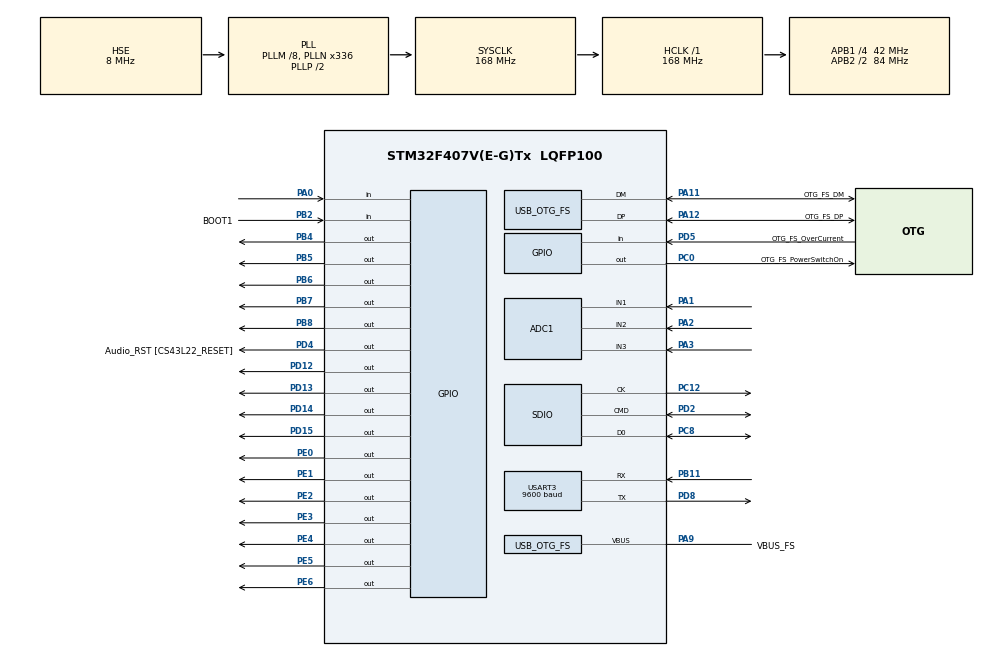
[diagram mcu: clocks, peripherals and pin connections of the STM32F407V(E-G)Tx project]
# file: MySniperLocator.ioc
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ADC1.Channel-0\#ChannelRegularConversion=ADC_CHANNEL_1
ADC1.Channel-1\#ChannelRegularConversion=ADC_CHANNEL_2
ADC1.Channel-2\#ChannelRegularConversion=ADC_CHANNEL_3
ADC1.ClockPrescaler=ADC_CLOCKPRESCALER_PCLK_DIV8
ADC1.ContinuousConvMode=ENABLE
ADC1.DMAContinuousRequests=ENABLE
ADC1.NbrOfConversion=3
ADC1.Rank-1\#ChannelRegularConversion=2
ADC1.Rank-2\#ChannelRegularConversion=3
ADC1.SamplingTime-0\#ChannelRegularConversion=ADC_SAMPLETIME_56CYCLES
ADC1.SamplingTime-1\#ChannelRegularConversion=ADC_SAMPLETIME_56CYCLES
ADC1.SamplingTime-2\#ChannelRegularConversion=ADC_SAMPLETIME_56CYCLES
ADC1.ScanConvMode=ENABLE
ADC1.master=1
Dma.ADC1.0.Channel=DMA_CHANNEL_0
Dma.ADC1.0.Direction=DMA_PERIPH_TO_MEMORY
Dma.ADC1.0.FIFOMode=DMA_FIFOMODE_DISABLE
Dma.ADC1.0.Instance=DMA2_Stream0
Dma.ADC1.0.MemDataAlignment=DMA_MDATAALIGN_HALFWORD
Dma.ADC1.0.MemInc=DMA_MINC_ENABLE
Dma.ADC1.0.Mode=DMA_CIRCULAR
Dma.ADC1.0.PeriphDataAlignment=DMA_PDATAALIGN_HALFWORD
Dma.ADC1.0.PeriphInc=DMA_PINC_DISABLE
Dma.ADC1.0.Priority=DMA_PRIORITY_HIGH
Dma.Request0=ADC1
FATFS._FS_TIMEOUT=1000
FATFS._MAX_SS=512
FATFS._MIN_SS=512
FATFS._MULTI_PARTITION=0
FATFS._USE_ERASE=0
FATFS._USE_LABEL=1
FATFS._USE_STRFUNC=2
FATFS._VOLUMES=1
Mcu.Family=STM32F4
Mcu.Name=STM32F407V(E-G)Tx
Mcu.Package=LQFP100
NVIC.DMA2_Stream0_IRQn=true\:2\:0\:true
NVIC.PriorityGroup=NVIC_PRIORITYGROUP_4
NVIC.USART3_IRQn=true\:1\:0\:true
PA0-WKUP.GPIO_Mode=GPIO_MODE_INPUT
PA0-WKUP.GPIO_PuPd=GPIO_PULLDOWN
PA0-WKUP.Signal=GPIO_Input
PA1.Signal=ADCx_IN1
PA10.GPIO_Label=OTG_FS_ID
PA10.GPIO_Mode=GPIO_MODE_AF_PP
PA10.GPIO_PuPd=GPIO_NOPULL
PA10.GPIO_Speed=GPIO_SPEED_LOW
PA10.Signal=USB_OTG_FS_ID
PA11.GPIO_Label=OTG_FS_DM
PA11.GPIO_Mode=GPIO_MODE_AF_PP
PA11.GPIO_PuPd=GPIO_NOPULL
PA11.GPIO_Speed=GPIO_SPEED_LOW
PA11.Mode=Device_Only
PA11.Signal=USB_OTG_FS_DM
PA12.GPIO_Label=OTG_FS_DP
PA12.GPIO_Mode=GPIO_MODE_AF_PP
PA12.GPIO_PuPd=GPIO_NOPULL
PA12.GPIO_Speed=GPIO_SPEED_LOW
PA12.Mode=Device_Only
PA12.Signal=USB_OTG_FS_DP
PA13.GPIO_Label=SWDIO
PA13.Mode=Trace-Asynchronous_SW
PA13.Signal=SYS_JTMS-SWDIO
PA14.GPIO_Label=SWCLK
PA14.Mode=Trace-Asynchronous_SW
PA14.Signal=SYS_JTCK-SWCLK
PA2.Signal=ADCx_IN2
PA3.Signal=ADCx_IN3
PA4.GPIO_Label=I2S3_WS [CS43L22_LRCK]
PA4.GPIO_Mode=GPIO_MODE_AF_PP
PA4.GPIO_PuPd=GPIO_NOPULL
PA4.GPIO_Speed=GPIO_SPEED_LOW
PA4.Signal=I2S3_WS
PA5.GPIO_Label=SPI1_SCK [LIS302DL_SCL/SPC]
PA5.GPIO_Mode=GPIO_MODE_AF_PP
PA5.GPIO_PuPd=GPIO_NOPULL
PA5.GPIO_Speed=GPIO_SPEED_LOW
PA5.Signal=SPI1_SCK
PA6.GPIO_Label=SPI1_MISO [LIS302DL_SDO]
PA6.GPIO_Mode=GPIO_MODE_AF_PP
PA6.GPIO_PuPd=GPIO_NOPULL
PA6.GPIO_Speed=GPIO_SPEED_LOW
PA6.Signal=SPI1_MISO
PA7.GPIO_Label=SPI1_MOSI [LIS302DL_SDA/SDI/SDO]
PA7.GPIO_Mode=GPIO_MODE_AF_PP
PA7.GPIO_PuPd=GPIO_NOPULL
PA7.GPIO_Speed=GPIO_SPEED_LOW
PA7.Signal=SPI1_MOSI
PA9.GPIO_Label=VBUS_FS
PA9.GPIO_Mode=GPIO_MODE_INPUT
PA9.GPIO_PuPd=GPIO_NOPULL
PA9.Mode=Activate_VBUS
PA9.Signal=USB_OTG_FS_VBUS
PB10.GPIO_Label=CLK_IN [MP45DT02_CLK]
PB10.GPIO_Mode=GPIO_MODE_AF_PP
PB10.GPIO_PuPd=GPIO_NOPULL
PB10.GPIO_Speed=GPIO_SPEED_LOW
PB10.Signal=I2S2_CK
PB11.Mode=Asynchronous
PB11.Signal=USART3_RX
PB2.GPIO_Label=BOOT1
PB2.GPIO_Mode=GPIO_MODE_INPUT
PB2.GPIO_PuPd=GPIO_NOPULL
PB2.Signal=GPIO_Input
PB3.GPIO_Label=SWO
PB3.Mode=Trace-Asynchronous_SW
PB3.Signal=SYS_JTDO-SWO
PB4.Signal=GPIO_Output
PB5.Signal=GPIO_Output
PB6.Signal=GPIO_Output
PB7.Signal=GPIO_Output
PB8.Signal=GPIO_Output
PC0.GPIO_Label=OTG_FS_PowerSwitchOn
PC0.GPIO_ModeDefaultOutputPP=GPIO_MODE_OUTPUT_PP
PC0.GPIO_PuPd=GPIO_NOPULL
PC0.GPIO_Speed=GPIO_SPEED_LOW
PC0.Signal=GPIO_Output
PC12.Mode=SD_1_bit
PC12.Signal=SDIO_CK
PC14-OSC32_IN.GPIO_Label=PC14-OSC32_IN
PC14-OSC32_IN.Signal=RCC_OSC32_IN
PC15-OSC32_OUT.GPIO_Label=PC15-OSC32_OUT
PC15-OSC32_OUT.Signal=RCC_OSC32_OUT
PC3.GPIO_Label=PDM_OUT [MP45DT02_DOUT]
PC3.GPIO_Mode=GPIO_MODE_AF_PP
PC3.GPIO_PuPd=GPIO_NOPULL
PC3.GPIO_Speed=GPIO_SPEED_LOW
PC3.Signal=I2S2_SD
PC8.Mode=SD_1_bit
PC8.Signal=SDIO_D0
PD12.Signal=GPIO_Output
PD13.Signal=GPIO_Output
PD14.Signal=GPIO_Output
PD15.Signal=GPIO_Output
PD2.Mode=SD_1_bit
PD2.Signal=SDIO_CMD
PD4.GPIO_Label=Audio_RST [CS43L22_RESET]
PD4.GPIO_ModeDefaultOutputPP=GPIO_MODE_OUTPUT_PP
PD4.GPIO_PuPd=GPIO_NOPULL
PD4.GPIO_Speed=GPIO_SPEED_LOW
PD4.Signal=GPIO_Output
PD5.GPIO_Label=OTG_FS_OverCurrent
PD5.GPIO_Mode=GPIO_MODE_INPUT
PD5.GPIO_PuPd=GPIO_NOPULL
PD5.Signal=GPIO_Input
PD8.Mode=Asynchronous
PD8.Signal=USART3_TX
PE0.Signal=GPIO_Output
PE1.Signal=GPIO_Output
PE2.Signal=GPIO_Output
PE3.Signal=GPIO_Output
PE4.Signal=GPIO_Output
PE5.Signal=GPIO_Output
PE6.Signal=GPIO_Output
PH0-OSC_IN.GPIO_Label=PH0-OSC_IN
PH0-OSC_IN.Mode=HSE-External-Oscillator
PH0-OSC_IN.Signal=RCC_OSC_IN
PH1-OSC_OUT.GPIO_Label=PH1-OSC_OUT
PH1-OSC_OUT.Mode=HSE-External-Oscillator
PH1-OSC_OUT.Signal=RCC_OSC_OUT
ProjectManager.TargetToolchain=EWARM
RCC.48MHZClocksFreq_Value=48000000
RCC.AHBFreq_Value=168000000
RCC.APB1CLKDivider=RCC_HCLK_DIV4
RCC.APB1Freq_Value=42000000
RCC.APB1TimFreq_Value=84000000
RCC.APB2CLKDivider=RCC_HCLK_DIV2
RCC.APB2Freq_Value=84000000
RCC.APB2TimFreq_Value=168000000
RCC.CortexFreq_Value=21000000
RCC.HCLKFreq_Value=168000000
RCC.HSE_VALUE=8000000
RCC.HSI_VALUE=16000000
RCC.LSE_VALUE=32768
RCC.PLLM=8
RCC.PLLN=336
RCC.PLLQ=7
RCC.PLLSource=RCC_PLLSOURCE_HSE
RCC.SYSCLKFreq_VALUE=168000000
RCC.SYSCLKSource=RCC_SYSCLKSOURCE_PLLCLK
RCC.VCOOutputFreq_Value=336000000
RTC.Format=FORMAT_BIN
SDIO.BusWide=SDIO_BUS_WIDE_1B
SH.ADCx_IN1.0=ADC1_IN1,IN1
SH.ADCx_IN2.0=ADC1_IN2,IN2
SH.ADCx_IN3.0=ADC1_IN3,IN3
USART3.BaudRate=9600
USB_OTG_FS.VirtualMode=Device_Only
VP_FATFS_VS_SDIO.Mode=SDIO
VP_RTC_VS_RTC_Alarm_A_Intern.Mode=Alarm A

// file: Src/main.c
/**
  ******************************************************************************
  * File Name          : main.c
  * Date               : 28/04/2015 03:44:30
  * Description        : Main program body
  ******************************************************************************
  *
  * COPYRIGHT(c) 2015 STMicroelectronics
  *
  * Redistribution and use in source and binary forms, with or without modification,
  * are permitted provided that the following conditions are met:
  *   1. Redistributions of source code must retain the above copyright notice,
  *      this list of conditions and the following disclaimer.
  *   2. Redistributions in binary form must reproduce the above copyright notice,
  *      this list of conditions and the following disclaimer in the documentation
  *      and/or other materials provided with the distribution.
  *   3. Neither the name of STMicroelectronics nor the names of its contributors
  *      may be used to endorse or promote products derived from this software
  *      without specific prior written permission.
  *
  * THIS SOFTWARE IS PROVIDED BY THE COPYRIGHT HOLDERS AND CONTRIBUTORS "AS IS"
  * AND ANY EXPRESS OR IMPLIED WARRANTIES, INCLUDING, BUT NOT LIMITED TO, THE
  * IMPLIED WARRANTIES OF MERCHANTABILITY AND FITNESS FOR A PARTICULAR PURPOSE ARE
  * DISCLAIMED. IN NO EVENT SHALL THE COPYRIGHT HOLDER OR CONTRIBUTORS BE LIABLE
  * FOR ANY DIRECT, INDIRECT, INCIDENTAL, SPECIAL, EXEMPLARY, OR CONSEQUENTIAL
  * DAMAGES (INCLUDING, BUT NOT LIMITED TO, PROCUREMENT OF SUBSTITUTE GOODS OR
  * SERVICES; LOSS OF USE, DATA, OR PROFITS; OR BUSINESS INTERRUPTION) HOWEVER
  * CAUSED AND ON ANY THEORY OF LIABILITY, WHETHER IN CONTRACT, STRICT LIABILITY,
  * OR TORT (INCLUDING NEGLIGENCE OR OTHERWISE) ARISING IN ANY WAY OUT OF THE USE
  * OF THIS SOFTWARE, EVEN IF ADVISED OF THE POSSIBILITY OF SUCH DAMAGE.
  *
  ******************************************************************************
  */

#include "stm32f4xx_hal.h"
#include "fatfs.h"

ADC_HandleTypeDef hadc1;
DMA_HandleTypeDef hdma_adc1;

RTC_HandleTypeDef hrtc;

SD_HandleTypeDef hsd;
HAL_SD_CardInfoTypedef SDCardInfo;

UART_HandleTypeDef huart3;

PCD_HandleTypeDef hpcd_USB_OTG_FS;

/* USER CODE BEGIN PV */
#define DATA_SIZE       0x1008
typedef enum {
  IDLE,
  INIT_RECORD,
  RECORD,
  RECORD_READY,
  READ_BUFFER
} state_t;
typedef enum {
  READY = 0x01,
  START,
  STOP,
  ERROR_SD,
  ERROR_SYNC,
  WRITING,
  RESET_POWER,
  OK,
  HARD_ERROR
} COMMAND;

//-----------------------------------//
FRESULT res;
FATFS SDFatFs;  /* File system object for SD card logical drive */
FIL MyFile;     /* File object */
FIL MyFile_time;     /* File object */
uint8_t SD_DriverNum;
//char SD_Path[4]/*={'1',':','/','\0'}*/; /* SD card logical drive path */
DWORD size;
char last[4] = {'0','0','1','\0'};
char readbuf[2] = {'0','\0'};
int count_power;
uint32_t byteswritten, bytesread;
uint16_t ADCConvValues[DATA_SIZE];
extern volatile uint16_t DataReceived;
char nameOfFile[];
char nameOfFile_send[];
char timeOfFile[];
int countData = 0;
//----------------------------------//

state_t state = IDLE;
volatile uint8_t file_writing = 0;

RTC_TimeTypeDef sTimeNow;
RTC_DateTypeDef sDateNow;
//---------------UART------------------//
uint8_t aTxBuffer[2];
uint8_t aRxBuffer[2];
HAL_StatusTypeDef res_uart;
//---------------UART_END------------------//
/* USER CODE END PV */

void SystemClock_Config(void);
static void MX_GPIO_Init(void);
static void MX_DMA_Init(void);
static void MX_ADC1_Init(void);
static void MX_RTC_Init(void);
static void MX_SDIO_SD_Init(void);
static void MX_USART3_UART_Init(void);
static void MX_USB_OTG_FS_PCD_Init(void);

/* USER CODE BEGIN PFP */
void hardfault_handler(void)
{
  aTxBuffer[0] = HARD_ERROR;
  int i;
  for (i=0; i<1000; i++)
  {
    HAL_UART_Transmit(&huart3, (uint8_t*)aTxBuffer, 1,250);
  }
  NVIC_SystemReset();
}
static void delay(void)
{
  for (int i=0; i < 24000000; i++)
      {
        __NOP();
      }
}
//static void send_name (void)
//{
//  int i;
//  for (i=0; i<1000; i++)
//  {
//    HAL_UART_Transmit(&huart3, (uint8_t*)nameOfFile_send, 15,50);
//  }
//}

static void send_ok (void)
{
  aTxBuffer[0] = OK;
  int i;
  for (i=0; i<1000; i++)
  {
    HAL_UART_Transmit(&huart3, (uint8_t*)aTxBuffer, 1,500);
  }
}
static void Error_HandlerSD(void)
{
  HAL_UART_Receive_IT(&huart3, (uint8_t *)aRxBuffer, 1);
  while(1)
  {
    HAL_GPIO_WritePin(GPIOD, GPIO_PIN_15, GPIO_PIN_RESET);
    HAL_GPIO_WritePin(GPIOD, GPIO_PIN_12, GPIO_PIN_RESET);
    HAL_GPIO_WritePin(GPIOD, GPIO_PIN_12, GPIO_PIN_SET);
    aTxBuffer[0] = ERROR_SD;
    HAL_UART_Transmit(&huart3, (uint8_t*)aTxBuffer, 1,250);
    HAL_GPIO_WritePin(GPIOD, GPIO_PIN_12, GPIO_PIN_RESET);
    delay();
    HAL_UART_Transmit(&huart3, (uint8_t*)aTxBuffer, 1,250);
    delay();

  }
}
static void Error_HandlerADC(void)
{
  HAL_UART_Receive_IT(&huart3, (uint8_t *)aRxBuffer, 1);
  while(1)
  {
    HAL_GPIO_WritePin(GPIOD, GPIO_PIN_15, GPIO_PIN_RESET);
    HAL_GPIO_WritePin(GPIOD, GPIO_PIN_12, GPIO_PIN_RESET);
    HAL_GPIO_WritePin(GPIOD, GPIO_PIN_14, GPIO_PIN_SET);
    delay();
    HAL_GPIO_WritePin(GPIOD, GPIO_PIN_14, GPIO_PIN_RESET);
    delay();
  }
}
static void Error_HandlerSync(void)
{
  HAL_UART_Receive_IT(&huart3, (uint8_t *)aRxBuffer, 1);
    while(1)
    {
      HAL_GPIO_WritePin(GPIOD, GPIO_PIN_15, GPIO_PIN_RESET);
      HAL_GPIO_WritePin(GPIOD, GPIO_PIN_12, GPIO_PIN_RESET);
      HAL_GPIO_WritePin(GPIOD, GPIO_PIN_14, GPIO_PIN_SET);
      while (1)
        aTxBuffer[0] = ERROR_SYNC;
      HAL_UART_Transmit(&huart3, (uint8_t*)aTxBuffer, 1,500);

    }
}
static void Error_Handler_UART(void)
{
__NOP();
}

/* USER CODE END PFP */

/* USER CODE BEGIN 0 */

ADC_HandleTypeDef hadc1;
DMA_HandleTypeDef hdma_adc1;

/* USER CODE END 0 */

int main(void)
{

  /* MCU Configuration----------------------------------------------------------*/

  /* Reset of all peripherals, Initializes the Flash interface and the Systick. */
  HAL_Init();

  /* Configure the system clock */
  SystemClock_Config();

  /* Initialize all configured peripherals */
  MX_GPIO_Init();
  MX_DMA_Init();
  MX_ADC1_Init();
  MX_RTC_Init();
  MX_SDIO_SD_Init();
  MX_USART3_UART_Init();
  MX_USB_OTG_FS_PCD_Init();
//  MX_FATFS_Init();

  /* USER CODE BEGIN 2 */
  /*##-1- Link the micro SD disk I/O driver ##################################*/

  FATFS_LinkDriver(&SD_Driver, SD_Path);
  {
    /*##-2- Register the file system object to the FatFs module ##############*/
    if((res = f_mount(&SDFatFs, (TCHAR const*)SD_Path, 0)) != FR_OK)
    {
      /* FatFs Initialization Error */
      Error_HandlerSD();
    }
    if(f_open(&MyFile, "INIT.TXT", FA_READ) != FR_OK)
    {
      if((res = f_open(&MyFile, "INIT.TXT", FA_CREATE_ALWAYS | FA_WRITE)) != FR_OK)
      {
        /* 'INIT.TXT' file Open for write Error */
        Error_HandlerSD();
      }
      else
      {  /*##-5- Write data to the text file ################################*/
      f_write(&MyFile, last, sizeof(last), (void *)&byteswritten);
      f_close(&MyFile);
      }
    }
    else
    {
      //size = f_size(&MyFile);
      //f_lseek (&MyFile,(size - 2));
      f_read(&MyFile, last, sizeof(last), (UINT*)&bytesread);
      f_close(&MyFile);
      if(f_open(&MyFile, "INIT.TXT", FA_WRITE) != FR_OK)
      {
        /* 'STM32.TXT' file Open for write Error */
        Error_HandlerSD();
      }
      else
      {
        //readbuf[0]+=1;
        count_power = atoi(last);
        count_power +=1;
        if (count_power < 10)
        {
          sprintf(last, "00%d", count_power);
        }
        else if (count_power < 100)
        {
        sprintf(last, "0%d", count_power);
        }
          //f_lseek (&MyFile,(size - 1));
        else
        {
          sprintf(last, "%d", count_power);
        }
        f_write(&MyFile, last, sizeof(last), (void *)&byteswritten);
        f_close(&MyFile);
      }
    }
  }

//  aTxBuffer[0] = READY;
//  while(aRxBuffer[0] != OK)
//  {
//    if(res_uart = HAL_UART_Transmit_IT(&huart3, (uint8_t*)aTxBuffer, 1)!= HAL_OK)
//    {
//      Error_Handler_UART();
//    }
//    HAL_UART_Receive(&huart3, (uint8_t *)aRxBuffer, 1, 500);
//  }
  HAL_GPIO_WritePin(GPIOD, GPIO_PIN_15, GPIO_PIN_SET);
  if(res_uart = HAL_UART_Receive_IT(&huart3, (uint8_t *)aRxBuffer, 1) != HAL_OK)
  {
    Error_Handler_UART();
  }

  /* USER CODE END 2 */

  /* Infinite loop */
  /* USER CODE BEGIN WHILE */
  while (1)
  {

    switch (state)
      //----------------------------------------//
    {
    case IDLE:
      if (HAL_GPIO_ReadPin(GPIOA, GPIO_PIN_0) == 1)
      {
        state = INIT_RECORD;

      }
      break;
      //----------------------------------------//
    case INIT_RECORD:
      HAL_RTC_GetTime(&hrtc, &sTimeNow, RTC_FORMAT_BIN);
      HAL_RTC_GetDate(&hrtc, &sDateNow, RTC_FORMAT_BIN);
      char nameOfFile[] = {(last[0]),(last[1]),(last[2]),'_',((sTimeNow.Minutes/10)+48),((sTimeNow.Minutes%10)+48),'h','_',(sTimeNow.Minutes+48),'m','_',((sTimeNow.Seconds/10)+48),((sTimeNow.Seconds%10)+48),'s','\0'};
      if((res = f_open(&MyFile, nameOfFile, FA_CREATE_ALWAYS | FA_WRITE)) != FR_OK)
      {
        Error_HandlerSD();
      }
      char timeOfFile[] = {(last[0]),(last[1]),(last[2]),'_',(sTimeNow.Hours+48),'h','_',((sTimeNow.Minutes/10)+48),((sTimeNow.Minutes%10)+48),'m','_',((sTimeNow.Seconds/10)+48),((sTimeNow.Seconds%10)+48),'s','_','t','.','t','x','t','\0'};
      if((res = f_open(&MyFile_time, timeOfFile, FA_CREATE_ALWAYS | FA_WRITE)) != FR_OK)
      {
        Error_HandlerSD();
      }
 //     memcpy(nameOfFile_send,nameOfFile,15);
      delay();
      send_ok();
//      send_name ();
      delay();
      if(HAL_ADC_Start_DMA(&hadc1, (uint32_t*)ADCConvValues, DATA_SIZE) != HAL_OK)
      {
        Error_HandlerADC();
      }
      HAL_GPIO_WritePin(GPIOD, GPIO_PIN_12, GPIO_PIN_SET);
      state = RECORD;
      file_writing = 1;
      if(res_uart = HAL_UART_Receive_IT(&huart3, (uint8_t *)aRxBuffer, 1) != HAL_OK)
      {
        Error_Handler_UART();
      }

      break;

      //----------------------------------------//
    case RECORD:
        if (HAL_GPIO_ReadPin(GPIOA, GPIO_PIN_0) == 1)
        {
          state = RECORD_READY;
        }
        if (state == RECORD_READY)
        {
          while (file_writing) {};
          f_close(&MyFile);
          f_close(&MyFile_time);
          HAL_GPIO_WritePin(GPIOD, GPIO_PIN_12, GPIO_PIN_RESET);
          send_ok();

          if(res_uart = HAL_UART_Receive_IT(&huart3, (uint8_t *)aRxBuffer, 1) != HAL_OK)
          {
            Error_Handler_UART();
          }
        }

      break;
}

  }
  /* USER CODE END WHILE */

}

/** System Clock Configuration
*/
void SystemClock_Config(void)
{

  RCC_OscInitTypeDef RCC_OscInitStruct;
  RCC_ClkInitTypeDef RCC_ClkInitStruct;
  RCC_PeriphCLKInitTypeDef PeriphClkInitStruct;

  __PWR_CLK_ENABLE();

  __HAL_PWR_VOLTAGESCALING_CONFIG(PWR_REGULATOR_VOLTAGE_SCALE1);

  RCC_OscInitStruct.OscillatorType = RCC_OSCILLATORTYPE_LSI|RCC_OSCILLATORTYPE_HSE;
  RCC_OscInitStruct.HSEState = RCC_HSE_ON;
  RCC_OscInitStruct.LSIState = RCC_LSI_ON;
  RCC_OscInitStruct.PLL.PLLState = RCC_PLL_ON;
  RCC_OscInitStruct.PLL.PLLSource = RCC_PLLSOURCE_HSE;
  RCC_OscInitStruct.PLL.PLLM = 8;
  RCC_OscInitStruct.PLL.PLLN = 336;
  RCC_OscInitStruct.PLL.PLLP = RCC_PLLP_DIV2;
  RCC_OscInitStruct.PLL.PLLQ = 7;
  HAL_RCC_OscConfig(&RCC_OscInitStruct);

  RCC_ClkInitStruct.ClockType = RCC_CLOCKTYPE_SYSCLK|RCC_CLOCKTYPE_PCLK1
                              |RCC_CLOCKTYPE_PCLK2;
  RCC_ClkInitStruct.SYSCLKSource = RCC_SYSCLKSOURCE_PLLCLK;
  RCC_ClkInitStruct.AHBCLKDivider = RCC_SYSCLK_DIV1;
  RCC_ClkInitStruct.APB1CLKDivider = RCC_HCLK_DIV4;
  RCC_ClkInitStruct.APB2CLKDivider = RCC_HCLK_DIV2;
  HAL_RCC_ClockConfig(&RCC_ClkInitStruct, FLASH_LATENCY_5);

  PeriphClkInitStruct.PeriphClockSelection = RCC_PERIPHCLK_RTC;
  PeriphClkInitStruct.RTCClockSelection = RCC_RTCCLKSOURCE_LSI;
  HAL_RCCEx_PeriphCLKConfig(&PeriphClkInitStruct);

}

/* ADC1 init function */
void MX_ADC1_Init(void)
{

  ADC_ChannelConfTypeDef sConfig;

    /**Configure the global features of the ADC (Clock, Resolution, Data Alignment and number of conversion)
    */
  hadc1.Instance = ADC1;
  hadc1.Init.ClockPrescaler = ADC_CLOCKPRESCALER_PCLK_DIV8;
  hadc1.Init.Resolution = ADC_RESOLUTION12b;
  hadc1.Init.ScanConvMode = ENABLE;
  hadc1.Init.ContinuousConvMode = ENABLE;
  hadc1.Init.DiscontinuousConvMode = DISABLE;
  hadc1.Init.ExternalTrigConvEdge = ADC_EXTERNALTRIGCONVEDGE_NONE;
  hadc1.Init.DataAlign = ADC_DATAALIGN_RIGHT;
  hadc1.Init.NbrOfConversion = 3;
  hadc1.Init.DMAContinuousRequests = ENABLE;
  hadc1.Init.EOCSelection = EOC_SINGLE_CONV;
  HAL_ADC_Init(&hadc1);

    /**Configure for the selected ADC regular channel its corresponding rank in the sequencer and its sample time.
    */
  sConfig.Channel = ADC_CHANNEL_3;
  sConfig.Rank = 3;
  sConfig.SamplingTime = ADC_SAMPLETIME_56CYCLES;
  HAL_ADC_ConfigChannel(&hadc1, &sConfig);

    /**Configure for the selected ADC regular channel its corresponding rank in the sequencer and its sample time.
    */
  sConfig.Channel = ADC_CHANNEL_2;
  sConfig.Rank = 2;
  sConfig.SamplingTime = ADC_SAMPLETIME_56CYCLES;
  HAL_ADC_ConfigChannel(&hadc1, &sConfig);

    /**Configure for the selected ADC regular channel its corresponding rank in the sequencer and its sample time.
    */
  sConfig.Channel = ADC_CHANNEL_1;
  sConfig.Rank = 1;
  sConfig.SamplingTime = ADC_SAMPLETIME_56CYCLES;
  HAL_ADC_ConfigChannel(&hadc1, &sConfig);

}

/* RTC init function */
void MX_RTC_Init(void)
{

  RTC_TimeTypeDef sTime;
  RTC_DateTypeDef sDate;
  RTC_AlarmTypeDef sAlarm;

    /**Initialize RTC and set the Time and Date
    */
  hrtc.Instance = RTC;
  hrtc.Init.HourFormat = RTC_HOURFORMAT_24;
  hrtc.Init.AsynchPrediv = 127;
  hrtc.Init.SynchPrediv = 255;
  hrtc.Init.OutPut = RTC_OUTPUT_DISABLE;
  hrtc.Init.OutPutPolarity = RTC_OUTPUT_POLARITY_HIGH;
  hrtc.Init.OutPutType = RTC_OUTPUT_TYPE_OPENDRAIN;
  HAL_RTC_Init(&hrtc);

  sTime.Hours = 0;
  sTime.Minutes = 0;
  sTime.Seconds = 0;
  sTime.SubSeconds = 0;
  sTime.TimeFormat = RTC_HOURFORMAT12_AM;
  sTime.DayLightSaving = RTC_DAYLIGHTSAVING_NONE;
  sTime.StoreOperation = RTC_STOREOPERATION_RESET;
  HAL_RTC_SetTime(&hrtc, &sTime, FORMAT_BIN);

  sDate.WeekDay = RTC_WEEKDAY_MONDAY;
  sDate.Month = RTC_MONTH_JANUARY;
  sDate.Date = 1;
  sDate.Year = 0;
  HAL_RTC_SetDate(&hrtc, &sDate, FORMAT_BIN);

    /**Enable the Alarm A
    */
  sAlarm.AlarmTime.Hours = 0;
  sAlarm.AlarmTime.Minutes = 0;
  sAlarm.AlarmTime.Seconds = 0;
  sAlarm.AlarmTime.SubSeconds = 0;
  sAlarm.AlarmTime.TimeFormat = RTC_HOURFORMAT12_AM;
  sAlarm.AlarmTime.DayLightSaving = RTC_DAYLIGHTSAVING_NONE;
  sAlarm.AlarmTime.StoreOperation = RTC_STOREOPERATION_RESET;
  sAlarm.AlarmMask = RTC_ALARMMASK_NONE;
  sAlarm.AlarmSubSecondMask = RTC_ALARMSUBSECONDMASK_ALL;
  sAlarm.AlarmDateWeekDaySel = RTC_ALARMDATEWEEKDAYSEL_DATE;
  sAlarm.AlarmDateWeekDay = 1;
  sAlarm.Alarm = RTC_ALARM_A;
  HAL_RTC_SetAlarm(&hrtc, &sAlarm, FORMAT_BIN);

}

/* SDIO init function */
void MX_SDIO_SD_Init(void)
{

  hsd.Instance = SDIO;
  hsd.Init.ClockEdge = SDIO_CLOCK_EDGE_RISING;
  hsd.Init.ClockBypass = SDIO_CLOCK_BYPASS_DISABLE;
  hsd.Init.ClockPowerSave = SDIO_CLOCK_POWER_SAVE_DISABLE;
  hsd.Init.BusWide = SDIO_BUS_WIDE_1B;
  hsd.Init.HardwareFlowControl = SDIO_HARDWARE_FLOW_CONTROL_DISABLE;
  hsd.Init.ClockDiv = 0;

}

/* USART3 init function */
void MX_USART3_UART_Init(void)
{

  huart3.Instance = USART3;
  huart3.Init.BaudRate = 9600;
  huart3.Init.WordLength = UART_WORDLENGTH_8B;
  huart3.Init.StopBits = UART_STOPBITS_1;
  huart3.Init.Parity = UART_PARITY_NONE;
  huart3.Init.Mode = UART_MODE_TX_RX;
  huart3.Init.HwFlowCtl = UART_HWCONTROL_NONE;
  huart3.Init.OverSampling = UART_OVERSAMPLING_16;
  HAL_UART_Init(&huart3);

}

/* USB_OTG_FS init function */
void MX_USB_OTG_FS_PCD_Init(void)
{

  hpcd_USB_OTG_FS.Instance = USB_OTG_FS;
  hpcd_USB_OTG_FS.Init.dev_endpoints = 7;
  hpcd_USB_OTG_FS.Init.speed = PCD_SPEED_FULL;
  hpcd_USB_OTG_FS.Init.dma_enable = DISABLE;
  hpcd_USB_OTG_FS.Init.ep0_mps = DEP0CTL_MPS_64;
  hpcd_USB_OTG_FS.Init.phy_itface = PCD_PHY_EMBEDDED;
  hpcd_USB_OTG_FS.Init.Sof_enable = DISABLE;
  hpcd_USB_OTG_FS.Init.low_power_enable = DISABLE;
  hpcd_USB_OTG_FS.Init.lpm_enable = DISABLE;
  hpcd_USB_OTG_FS.Init.vbus_sensing_enable = ENABLE;
  hpcd_USB_OTG_FS.Init.use_dedicated_ep1 = DISABLE;
  HAL_PCD_Init(&hpcd_USB_OTG_FS);

}

void MX_DMA_Init(void)
{
  /* DMA controller clock enable */
  __DMA2_CLK_ENABLE();

  /* DMA interrupt init */
  HAL_NVIC_SetPriority(DMA2_Stream0_IRQn, 2, 0);
  HAL_NVIC_EnableIRQ(DMA2_Stream0_IRQn);

}

/** Configure pins as
        * Analog
        * Input
        * Output
        * EVENT_OUT
        * EXTI
     PC3   ------> I2S2_SD
     PA4   ------> I2S3_WS
     PA5   ------> SPI1_SCK
     PA6   ------> SPI1_MISO
     PA7   ------> SPI1_MOSI
     PB10   ------> I2S2_CK
*/
void MX_GPIO_Init(void)
{

  GPIO_InitTypeDef GPIO_InitStruct;

  /* GPIO Ports Clock Enable */
  __GPIOE_CLK_ENABLE();
  __GPIOC_CLK_ENABLE();
  __GPIOH_CLK_ENABLE();
  __GPIOA_CLK_ENABLE();
  __GPIOB_CLK_ENABLE();
  __GPIOD_CLK_ENABLE();

  /*Configure GPIO pins : PE2 PE3 PE4 PE5
                           PE6 PE0 PE1 */
  GPIO_InitStruct.Pin = GPIO_PIN_2|GPIO_PIN_3|GPIO_PIN_4|GPIO_PIN_5
                          |GPIO_PIN_6|GPIO_PIN_0|GPIO_PIN_1;
  GPIO_InitStruct.Mode = GPIO_MODE_OUTPUT_PP;
  GPIO_InitStruct.Pull = GPIO_NOPULL;
  GPIO_InitStruct.Speed = GPIO_SPEED_LOW;
  HAL_GPIO_Init(GPIOE, &GPIO_InitStruct);

  /*Configure GPIO pin : PC0 */
  GPIO_InitStruct.Pin = GPIO_PIN_0;
  GPIO_InitStruct.Mode = GPIO_MODE_OUTPUT_PP;
  GPIO_InitStruct.Pull = GPIO_NOPULL;
  GPIO_InitStruct.Speed = GPIO_SPEED_LOW;
  HAL_GPIO_Init(GPIOC, &GPIO_InitStruct);

  /*Configure GPIO pin : PC3 */
  GPIO_InitStruct.Pin = GPIO_PIN_3;
  GPIO_InitStruct.Mode = GPIO_MODE_AF_PP;
  GPIO_InitStruct.Pull = GPIO_NOPULL;
  GPIO_InitStruct.Speed = GPIO_SPEED_LOW;
  GPIO_InitStruct.Alternate = GPIO_AF5_SPI2;
  HAL_GPIO_Init(GPIOC, &GPIO_InitStruct);

  /*Configure GPIO pin : PA0 */
  GPIO_InitStruct.Pin = GPIO_PIN_0;
  GPIO_InitStruct.Mode = GPIO_MODE_INPUT;
  GPIO_InitStruct.Pull = GPIO_PULLDOWN;
  HAL_GPIO_Init(GPIOA, &GPIO_InitStruct);

  /*Configure GPIO pin : PA4 */
  GPIO_InitStruct.Pin = GPIO_PIN_4;
  GPIO_InitStruct.Mode = GPIO_MODE_AF_PP;
  GPIO_InitStruct.Pull = GPIO_NOPULL;
  GPIO_InitStruct.Speed = GPIO_SPEED_LOW;
  GPIO_InitStruct.Alternate = GPIO_AF6_SPI3;
  HAL_GPIO_Init(GPIOA, &GPIO_InitStruct);

  /*Configure GPIO pins : PA5 PA6 PA7 */
  GPIO_InitStruct.Pin = GPIO_PIN_5|GPIO_PIN_6|GPIO_PIN_7;
  GPIO_InitStruct.Mode = GPIO_MODE_AF_PP;
  GPIO_InitStruct.Pull = GPIO_NOPULL;
  GPIO_InitStruct.Speed = GPIO_SPEED_LOW;
  GPIO_InitStruct.Alternate = GPIO_AF5_SPI1;
  HAL_GPIO_Init(GPIOA, &GPIO_InitStruct);

  /*Configure GPIO pin : PB2 */
  GPIO_InitStruct.Pin = GPIO_PIN_2;
  GPIO_InitStruct.Mode = GPIO_MODE_INPUT;
  GPIO_InitStruct.Pull = GPIO_NOPULL;
  HAL_GPIO_Init(GPIOB, &GPIO_InitStruct);

  /*Configure GPIO pin : PB10 */
  GPIO_InitStruct.Pin = GPIO_PIN_10;
  GPIO_InitStruct.Mode = GPIO_MODE_AF_PP;
  GPIO_InitStruct.Pull = GPIO_NOPULL;
  GPIO_InitStruct.Speed = GPIO_SPEED_LOW;
  GPIO_InitStruct.Alternate = GPIO_AF5_SPI2;
  HAL_GPIO_Init(GPIOB, &GPIO_InitStruct);

  /*Configure GPIO pins : PD12 PD13 PD14 PD15
                           PD4 */
  GPIO_InitStruct.Pin = GPIO_PIN_12|GPIO_PIN_13|GPIO_PIN_14|GPIO_PIN_15
                          |GPIO_PIN_4;
  GPIO_InitStruct.Mode = GPIO_MODE_OUTPUT_PP;
  GPIO_InitStruct.Pull = GPIO_NOPULL;
  GPIO_InitStruct.Speed = GPIO_SPEED_LOW;
  HAL_GPIO_Init(GPIOD, &GPIO_InitStruct);

  /*Configure GPIO pin : PD5 */
  GPIO_InitStruct.Pin = GPIO_PIN_5;
  GPIO_InitStruct.Mode = GPIO_MODE_INPUT;
  GPIO_InitStruct.Pull = GPIO_NOPULL;
  HAL_GPIO_Init(GPIOD, &GPIO_InitStruct);

  /*Configure GPIO pins : PB4 PB5 PB6 PB7
                           PB8 */
  GPIO_InitStruct.Pin = GPIO_PIN_4|GPIO_PIN_5|GPIO_PIN_6|GPIO_PIN_7
                          |GPIO_PIN_8;
  GPIO_InitStruct.Mode = GPIO_MODE_OUTPUT_PP;
  GPIO_InitStruct.Pull = GPIO_NOPULL;
  GPIO_InitStruct.Speed = GPIO_SPEED_LOW;
  HAL_GPIO_Init(GPIOB, &GPIO_InitStruct);

}

/* USER CODE BEGIN 4 */

volatile short startConversion = 0;
volatile short startWrite = 0;

void HAL_ADC_ConvHalfCpltCallback(ADC_HandleTypeDef* hadc)
{
  /*##-5- Write data to the text file ################################*/
  res = f_write(&MyFile, ADCConvValues, DATA_SIZE, (void *)&byteswritten);
  if((byteswritten == 0) || (res != FR_OK))
  {
    res = f_write(&MyFile, ADCConvValues, DATA_SIZE, (void *)&byteswritten);
    if((byteswritten == 0) || (res != FR_OK))
    {
      Error_HandlerSD();
    }
  }
}

void HAL_ADC_ConvCpltCallback(ADC_HandleTypeDef* hadc)
{
  /*##-5- Write data to the text file ################################*/
  res = f_write(&MyFile, (const char * )(&ADCConvValues[DATA_SIZE / 2]), DATA_SIZE, (void *)&byteswritten);
  countData++;
    if((byteswritten == 0) || (res != FR_OK))
    {
      /* 'Data.TXT' file Write or EOF Error */
      Error_HandlerSD();
    }
    if (countData == 16)
    {
      countData = 0;
      if((res = f_sync (&MyFile)) != FR_OK)
      {
          Error_HandlerSync();
      }

      HAL_RTC_GetTime(&hrtc, &sTimeNow, RTC_FORMAT_BIN);
      HAL_RTC_GetDate(&hrtc, &sDateNow, RTC_FORMAT_BIN);
      char timeOfFile[] = {(sTimeNow.Hours+48),':',((sTimeNow.Minutes/10)+48),((sTimeNow.Minutes%10)+48),':',((sTimeNow.Seconds/10)+48),((sTimeNow.Seconds%10)+48),'\n'};
      res = f_write(&MyFile_time, timeOfFile, sizeof(timeOfFile), (void *)&byteswritten);
      if((byteswritten == 0) || (res != FR_OK))
      {
        res = f_write(&MyFile, ADCConvValues, DATA_SIZE, (void *)&byteswritten);
        if((byteswritten == 0) || (res != FR_OK))
        {
          Error_HandlerSD();
        }
      }
      if((res = f_sync (&MyFile_time)) != FR_OK)
      {
          Error_HandlerSync();
      }
//      aTxBuffer[0] = WRITING;
//      HAL_UART_Transmit(&huart3, (uint8_t*)aTxBuffer, 1,500);
    }

  if (state == RECORD_READY)
  {
    state = IDLE;
    HAL_ADC_Stop_DMA(&hadc1);
    delay();
    file_writing = 0;
  }
}

char string[12] = "Flyability\r\n";

void HAL_UART_RxCpltCallback(UART_HandleTypeDef *huart)
{
//  while(aTxBuffer[0] != OK)
//  {
//
//  }
  switch (aRxBuffer[0])
  {
  case START:
    state = INIT_RECORD;
    break;
  case STOP:
    state = RECORD_READY;
    break;
  case RESET_POWER:
    NVIC_SystemReset();
    break;
  }

  if(res_uart = HAL_UART_Receive_IT(&huart3, (uint8_t *)aRxBuffer, 1) != HAL_OK)
  {
    Error_Handler_UART();
  }

}
/* USER CODE END 4 */

/************************ (C) COPYRIGHT STMicroelectronics *****END OF FILE****/
